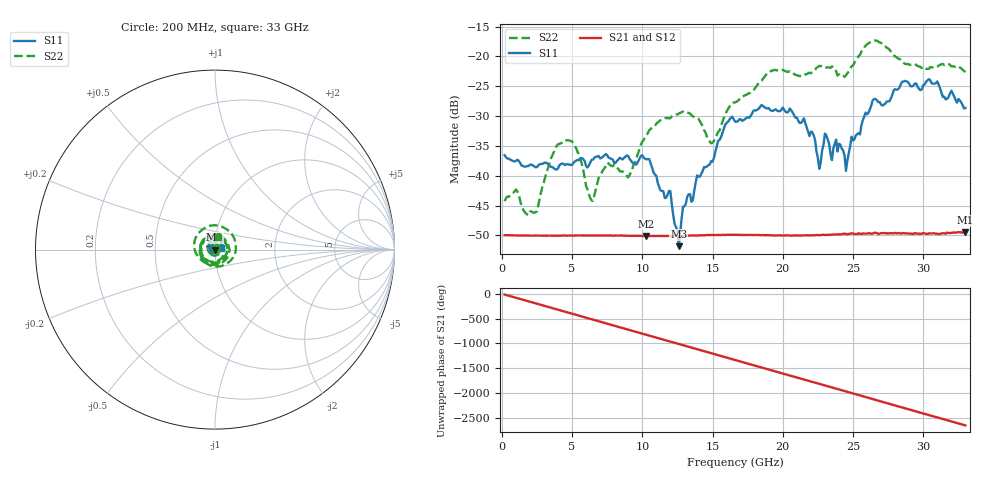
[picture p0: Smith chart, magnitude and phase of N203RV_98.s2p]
# GHZ S RI R 50
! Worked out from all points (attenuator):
!   329 points, 200 MHz to 33 GHz, reference 50 ohm
!   highest |S21| = -49.46 dB at 33 GHz (marker M1); lowest = -50.1 dB at 10.3 GHz (marker M2)
!   lowest |S11| = -51.8 dB at 12.6 GHz (marker M3), VSWR 1.01, Z = 49.7 + j0.0259 ohm
!   |S11| at or under -10 dB: start of sweep to end of sweep
!   |S22| runs from -46.6 to -17.3 dB; largest |S21 - S12| = 7.3e-05
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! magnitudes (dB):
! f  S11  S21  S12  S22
! 200 MHz  -36.6  -50.0  -50.0  -44.3
! 2.5 GHz  -38.6  -50.0  -50.0  -46.0
! 4.5 GHz  -38.2  -50.0  -50.0  -34.0
! 5.7 GHz  -37.1  -50.0  -50.0  -38.1
! 6.5 GHz  -37.3  -50.0  -50.0  -44.2
! 7.5 GHz  -36.5  -50.0  -50.0  -37.9
! 9 GHz  -36.7  -50.1  -50.0  -40.3
! 10.3 GHz  -37.3  -50.1  -50.1  -33.2
! 11.2 GHz  -41.9  -50.1  -50.1  -30.9
! 12 GHz  -42.6  -50.1  -50.1  -30.3
! 12.6 GHz  -51.8  -50.1  -50.1  -29.6
! 12.9 GHz  -45.2  -50.0  -50.0  -29.3
! 14.9 GHz  -37.6  -50.0  -49.9  -34.6
! 16.6 GHz  -30.9  -49.9  -49.9  -27.7
! 22.1 GHz  -32.7  -50.0  -49.9  -22.7
! 22.6 GHz  -38.9  -50.0  -49.9  -21.6
! 23 GHz  -32.9  -49.9  -49.9  -21.8
! 24.5 GHz  -39.2  -49.8  -49.7  -23.2
! 26.4 GHz  -27.4  -49.7  -49.6  -17.5
! 27.6 GHz  -27.5  -49.6  -49.6  -18.9
! 30.4 GHz  -23.8  -49.7  -49.7  -22.1
! 33 GHz  -28.7  -49.5  -49.5  -22.6
